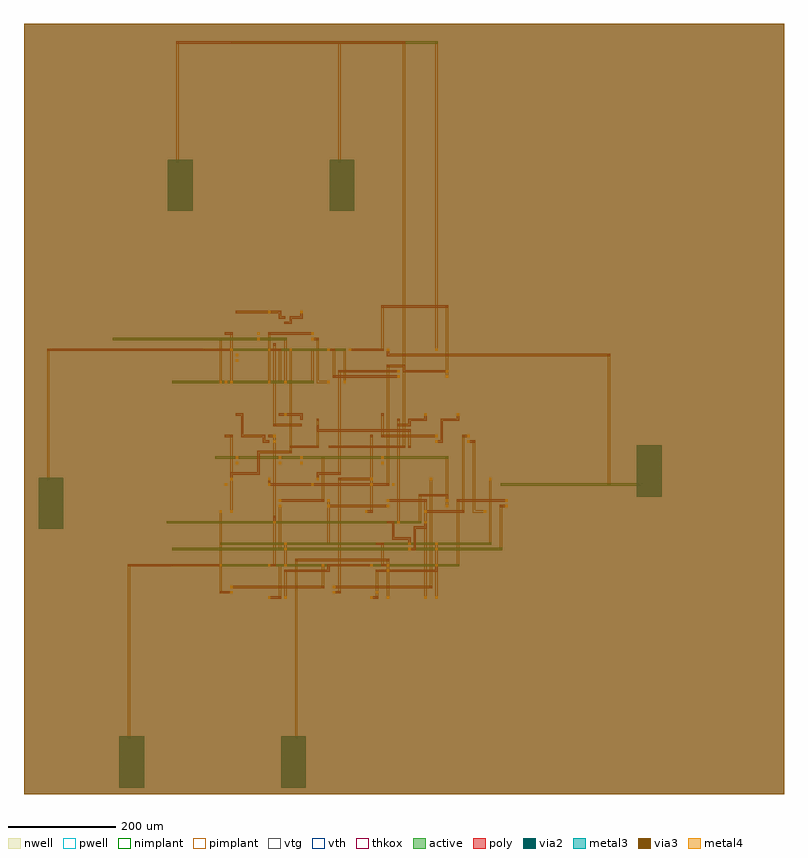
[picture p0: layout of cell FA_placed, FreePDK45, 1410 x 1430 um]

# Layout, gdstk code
from math import pi, radians
import gdstk
lib = gdstk.Library(unit=1e-6, precision=1e-09)
def R(c, l, rs):  # rectangles x0, y0, x1, y1
    for r in rs: c.add(gdstk.rectangle(r[:2], r[2:], *l))
active = (1, 0)
pwell = (2, 0)
nwell = (3, 0)
nimplant = (4, 0)
pimplant = (5, 0)
vtg = (6, 0)
vth = (7, 0)
thkox = (8, 0)
poly = (9, 0)
via2 = (14, 0)
metal3 = (15, 0)
via3 = (16, 0)
metal4 = (17, 0)

via45 = lib.new_cell('VIA45')
R(via45, vth, [(-2.2,-2.2,2.2,2.2)])
R(via45, thkox, [(-2.2,-2.2,2.2,2.2)])
R(via45, poly, [(-2.2,-2.2,2.2,2.2)])

via34 = lib.new_cell('VIA34')
R(via34, pimplant, [(-2.2,-2.2,2.2,2.2)])
R(via34, vtg, [(-2.2,-2.2,2.2,2.2)])
R(via34, vth, [(-2.2,-2.2,2.2,2.2)])

via23 = lib.new_cell('VIA23')
R(via23, nwell, [(-2.2,-2.2,2.2,2.2)])
R(via23, nimplant, [(-2.2,-2.2,2.2,2.2)])
R(via23, pimplant, [(-2.2,-2.2,2.2,2.2)])

pad = lib.new_cell('PAD')
R(pad, via2, [(27,12.5,73,107.5)])
R(pad, metal3, [(27,12.5,73,107.5)])
R(pad, via3, [(0,0,100,120)])

via12 = lib.new_cell('VIA12')
R(via12, active, [(-200.2,-2.2,2.2,2.2)])
R(via12, pwell, [(-2.2,-2.2,2.2,2.2)])
R(via12, nwell, [(-2.2,-2.2,2.2,2.2)])

thmitll_splitt = lib.new_cell('THmitll_SPLITT')
R(thmitll_splitt, via3, [(0,0,30,70)])
R(thmitll_splitt, metal4, [(22.8,12.8,27.2,17.2), (22.8,22.8,27.2,27.2), (2.8,62.8,7.2,67.2)])

thmitll_dfft = lib.new_cell('THmitll_DFFT')
R(thmitll_dfft, via3, [(0,0,30,70)])
R(thmitll_dfft, metal4, [(2.8,2.8,7.2,7.2), (22.8,2.8,27.2,7.2), (22.8,62.8,27.2,67.2)])

thmitll_xort = lib.new_cell('THmitll_XORT')
R(thmitll_xort, via3, [(0,0,50,70)])
R(thmitll_xort, metal4, [(2.8,2.8,7.2,7.2), (32.8,2.8,37.2,7.2), (2.8,62.8,7.2,67.2), (42.8,62.8,47.2,67.2)])

thmitll_or2t = lib.new_cell('THmitll_OR2T')
R(thmitll_or2t, via3, [(0,0,40,70)])
R(thmitll_or2t, metal4, [(2.8,2.8,7.2,7.2), (32.8,2.8,37.2,7.2), (2.8,62.8,7.2,67.2), (32.8,62.8,37.2,67.2)])

thmitll_and2t = lib.new_cell('THmitll_AND2T')
R(thmitll_and2t, via3, [(0,0,50,70)])
R(thmitll_and2t, metal4, [(2.8,2.8,7.2,7.2), (42.8,12.8,47.2,17.2), (42.8,22.8,47.2,27.2), (12.8,62.8,17.2,67.2)])

fa_placed = lib.new_cell('FA_placed')
R(fa_placed, via3, [(0,0,1410,1430)])
fa_placed.add(gdstk.FlexPath([(715,645),(715,675)], 4.4, ends="extended", simple_path=True, layer=5, datatype=0))  # pimplant
fa_placed.add(gdstk.FlexPath([(285,1175),(285,1395)], 4.4, ends="extended", simple_path=True, layer=5, datatype=0))  # pimplant
fa_placed.add(gdstk.FlexPath([(535,765),(535,825)], 4.4, ends="extended", simple_path=True, layer=5, datatype=0))  # pimplant
fa_placed.add(gdstk.FlexPath([(585,375),(585,585)], 4.4, ends="extended", simple_path=True, layer=5, datatype=0))  # pimplant
fa_placed.add(gdstk.FlexPath([(765,1395),(765,825)], 4.4, ends="extended", simple_path=True, layer=5, datatype=0))  # pimplant
fa_placed.add(gdstk.FlexPath([(835,655),(835,525)], 4.4, ends="extended", simple_path=True, layer=5, datatype=0))  # pimplant
fa_placed.add(gdstk.FlexPath([(485,425),(485,465)], 4.4, ends="extended", simple_path=True, layer=5, datatype=0))  # pimplant
fa_placed.add(gdstk.FlexPath([(465,425),(465,505)], 4.4, ends="extended", simple_path=True, layer=5, datatype=0))  # pimplant
fa_placed.add(gdstk.FlexPath([(485,765),(485,845)], 4.4, ends="extended", simple_path=True, layer=5, datatype=0))  # pimplant
fa_placed.add(gdstk.FlexPath([(545,645),(545,695)], 4.4, ends="extended", simple_path=True, layer=5, datatype=0))  # pimplant
fa_placed.add(gdstk.FlexPath([(455,765),(455,855)], 4.4, ends="extended", simple_path=True, layer=5, datatype=0))  # pimplant
fa_placed.add(gdstk.FlexPath([(465,665),(465,515)], 4.4, ends="extended", simple_path=True, layer=5, datatype=0))  # pimplant
fa_placed.add(gdstk.FlexPath([(485,415),(485,365)], 4.4, ends="extended", simple_path=True, layer=5, datatype=0))  # pimplant
fa_placed.add(gdstk.FlexPath([(555,545),(555,625)], 4.4, ends="extended", simple_path=True, layer=5, datatype=0))  # pimplant
fa_placed.add(gdstk.FlexPath([(505,105),(505,435)], 4.4, ends="extended", simple_path=True, layer=5, datatype=0))  # pimplant
fa_placed.add(gdstk.FlexPath([(475,455),(475,535)], 4.4, ends="extended", simple_path=True, layer=5, datatype=0))  # pimplant
fa_placed.add(gdstk.FlexPath([(465,835),(465,685)], 4.4, ends="extended", simple_path=True, layer=5, datatype=0))  # pimplant
fa_placed.add(gdstk.FlexPath([(865,465),(865,585)], 4.4, ends="extended", simple_path=True, layer=5, datatype=0))  # pimplant
fa_placed.add(gdstk.FlexPath([(555,385),(555,425)], 4.4, ends="extended", simple_path=True, layer=5, datatype=0))  # pimplant
fa_placed.add(gdstk.FlexPath([(815,665),(815,525)], 4.4, ends="extended", simple_path=True, layer=5, datatype=0))  # pimplant
fa_placed.add(gdstk.FlexPath([(765,365),(765,465)], 4.4, ends="extended", simple_path=True, layer=5, datatype=0))  # pimplant
fa_placed.add(gdstk.FlexPath([(585,1175),(585,1395)], 4.4, ends="extended", simple_path=True, layer=5, datatype=0))  # pimplant
fa_placed.add(gdstk.FlexPath([(475,365),(475,425)], 4.4, ends="extended", simple_path=True, layer=5, datatype=0))  # pimplant
fa_placed.add(gdstk.FlexPath([(785,905),(785,775)], 4.4, ends="extended", simple_path=True, layer=5, datatype=0))  # pimplant
fa_placed.add(gdstk.FlexPath([(495,825),(495,635)], 4.4, ends="extended", simple_path=True, layer=5, datatype=0))  # pimplant
fa_placed.add(gdstk.FlexPath([(475,825),(475,765)], 4.4, ends="extended", simple_path=True, layer=5, datatype=0))  # pimplant
fa_placed.add(gdstk.FlexPath([(645,525),(645,665)], 4.4, ends="extended", simple_path=True, layer=5, datatype=0))  # pimplant
fa_placed.add(gdstk.FlexPath([(545,765),(565,765)], 4.4, ends="extended", simple_path=True, layer=5, datatype=0))  # pimplant
fa_placed.add(gdstk.FlexPath([(705,1395),(705,645)], 4.4, ends="extended", simple_path=True, layer=5, datatype=0))  # pimplant
fa_placed.add(gdstk.FlexPath([(675,795),(675,575)], 4.4, ends="extended", simple_path=True, layer=5, datatype=0))  # pimplant
fa_placed.add(gdstk.FlexPath([(665,465),(665,425)], 4.4, ends="extended", simple_path=True, layer=5, datatype=0))  # pimplant
fa_placed.add(gdstk.FlexPath([(365,525),(365,375)], 4.4, ends="extended", simple_path=True, layer=5, datatype=0))  # pimplant
fa_placed.add(gdstk.FlexPath([(1085,575),(1085,815)], 4.4, ends="extended", simple_path=True, layer=5, datatype=0))  # pimplant
fa_placed.add(gdstk.FlexPath([(735,505),(735,555)], 4.4, ends="extended", simple_path=True, layer=5, datatype=0))  # pimplant
fa_placed.add(gdstk.FlexPath([(565,545),(565,465)], 4.4, ends="extended", simple_path=True, layer=5, datatype=0))  # pimplant
fa_placed.add(gdstk.FlexPath([(595,825),(595,765)], 4.4, ends="extended", simple_path=True, layer=5, datatype=0))  # pimplant
fa_placed.add(gdstk.FlexPath([(575,825),(575,775)], 4.4, ends="extended", simple_path=True, layer=5, datatype=0))  # pimplant
fa_placed.add(gdstk.FlexPath([(385,665),(385,525)], 4.4, ends="extended", simple_path=True, layer=5, datatype=0))  # pimplant
fa_placed.add(gdstk.FlexPath([(45,585),(45,825)], 4.4, ends="extended", simple_path=True, layer=5, datatype=0))  # pimplant
fa_placed.add(gdstk.FlexPath([(195,105),(195,425)], 4.4, ends="extended", simple_path=True, layer=5, datatype=0))  # pimplant
fa_placed.add(gdstk.FlexPath([(885,535),(885,455)], 4.4, ends="extended", simple_path=True, layer=5, datatype=0))  # pimplant
fa_placed.add(gdstk.FlexPath([(655,365),(655,415)], 4.4, ends="extended", simple_path=True, layer=5, datatype=0))  # pimplant
fa_placed.add(gdstk.FlexPath([(785,625),(785,535)], 4.4, ends="extended", simple_path=True, layer=5, datatype=0))  # pimplant
fa_placed.add(gdstk.FlexPath([(365,845),(365,765)], 4.4, ends="extended", simple_path=True, layer=5, datatype=0))  # pimplant
fa_placed.add(gdstk.FlexPath([(545,845),(545,765)], 4.4, ends="extended", simple_path=True, layer=5, datatype=0))  # pimplant
fa_placed.add(gdstk.FlexPath([(695,505),(695,695)], 4.4, ends="extended", simple_path=True, layer=5, datatype=0))  # pimplant
fa_placed.add(gdstk.FlexPath([(745,545),(745,365)], 4.4, ends="extended", simple_path=True, layer=5, datatype=0))  # pimplant
fa_placed.add(gdstk.FlexPath([(755,385),(755,585)], 4.4, ends="extended", simple_path=True, layer=5, datatype=0))  # pimplant
fa_placed.add(gdstk.FlexPath([(665,705),(665,665)], 4.4, ends="extended", simple_path=True, layer=5, datatype=0))  # pimplant
fa_placed.add(gdstk.FlexPath([(835,525),(855,525)], 4.4, ends="extended", simple_path=True, layer=5, datatype=0))  # pimplant
fa_placed.add(gdstk.FlexPath([(385,855),(385,765)], 4.4, ends="extended", simple_path=True, layer=5, datatype=0))  # pimplant
fa_placed.add(gdstk.FlexPath([(675,435),(675,365)], 4.4, ends="extended", simple_path=True, layer=5, datatype=0))  # pimplant
fa_placed.add(gdstk.FlexPath([(665,825),(665,905)], 4.4, ends="extended", simple_path=True, layer=5, datatype=0))  # pimplant
fa_placed.add(gdstk.FlexPath([(585,785),(585,595)], 4.4, ends="extended", simple_path=True, layer=5, datatype=0))  # pimplant
fa_placed.add(gdstk.FlexPath([(805,425),(805,545)], 4.4, ends="extended", simple_path=True, layer=5, datatype=0))  # pimplant
fa_placed.add(gdstk.FlexPath([(555,625),(785,625)], 4.4, ends="extended", simple_path=True, layer=1, datatype=0))  # active
fa_placed.add(gdstk.FlexPath([(475,765),(535,765)], 4.4, ends="extended", simple_path=True, layer=1, datatype=0))  # active
fa_placed.add(gdstk.FlexPath([(1145,575),(1085,575)], 4.4, ends="extended", simple_path=True, layer=1, datatype=0))  # active
fa_placed.add(gdstk.FlexPath([(485,845),(365,845)], 4.4, ends="extended", simple_path=True, layer=1, datatype=0))  # active
fa_placed.add(gdstk.FlexPath([(885,455),(475,455)], 4.4, ends="extended", simple_path=True, layer=1, datatype=0))  # active
fa_placed.add(gdstk.FlexPath([(585,1395),(765,1395)], 4.4, ends="extended", simple_path=True, layer=1, datatype=0))  # active
fa_placed.add(gdstk.FlexPath([(565,465),(865,465)], 4.4, ends="extended", simple_path=True, layer=1, datatype=0))  # active
fa_placed.add(gdstk.FlexPath([(475,425),(805,425)], 4.4, ends="extended", simple_path=True, layer=1, datatype=0))  # active
fa_placed.add(gdstk.FlexPath([(465,505),(735,505)], 4.4, ends="extended", simple_path=True, layer=1, datatype=0))  # active
fa_placed.add(gdstk.FlexPath([(535,825),(595,825)], 4.4, ends="extended", simple_path=True, layer=1, datatype=0))  # active
fa_placed.add(gdstk.FlexPath([(675,815),(675,825)], 4.4, ends=(2.2, 0), simple_path=True, layer=9, datatype=0))  # poly
fa_placed.add(gdstk.FlexPath([(515,885),(515,895)], 4.4, ends=(2.2, 0), simple_path=True, layer=9, datatype=0))  # poly
fa_placed.add(gdstk.FlexPath([(645,365),(655,365)], 4.4, ends="extended", simple_path=True, layer=9, datatype=0))  # poly
fa_placed.add(gdstk.FlexPath([(675,545),(745,545)], 4.4, ends="extended", simple_path=True, layer=9, datatype=0))  # poly
fa_placed.add(gdstk.FlexPath([(685,475),(715,475)], 4.4, ends="extended", simple_path=True, layer=9, datatype=0))  # poly
fa_placed.add(gdstk.FlexPath([(455,575),(455,585)], 4.4, ends=(2.2, 0), simple_path=True, layer=9, datatype=0))  # poly
fa_placed.add(gdstk.FlexPath([(375,855),(385,855)], 4.4, ends="extended", simple_path=True, layer=9, datatype=0))  # poly
fa_placed.add(gdstk.FlexPath([(575,385),(755,385)], 4.4, ends="extended", simple_path=True, layer=9, datatype=0))  # poly
fa_placed.add(gdstk.FlexPath([(715,695),(745,695)], 4.4, ends="extended", simple_path=True, layer=9, datatype=0))  # poly
fa_placed.add(gdstk.FlexPath([(785,785),(705,785)], 4.4, ends="extended", simple_path=True, layer=9, datatype=0))  # poly
fa_placed.add(gdstk.FlexPath([(765,655),(775,655)], 4.4, ends="extended", simple_path=True, layer=9, datatype=0))  # poly
fa_placed.add(gdstk.FlexPath([(605,825),(665,825)], 4.4, ends="extended", simple_path=True, layer=9, datatype=0))  # poly
fa_placed.add(gdstk.FlexPath([(495,635),(435,635)], 4.4, ends="extended", simple_path=True, layer=9, datatype=0))  # poly
fa_placed.add(gdstk.FlexPath([(705,645),(565,645)], 4.4, ends=(2.2, 0), simple_path=True, layer=9, datatype=0))  # poly
fa_placed.add(gdstk.FlexPath([(365,375),(385,375)], 4.4, ends=(2.2, 0), simple_path=True, layer=9, datatype=0))  # poly
fa_placed.add(gdstk.FlexPath([(725,455),(725,495)], 4.4, ends="extended", simple_path=True, layer=9, datatype=0))  # poly
fa_placed.add(gdstk.FlexPath([(495,885),(515,885)], 4.4, ends="extended", simple_path=True, layer=9, datatype=0))  # poly
fa_placed.add(gdstk.FlexPath([(785,555),(785,545)], 4.4, ends=(2.2, 0), simple_path=True, layer=9, datatype=0))  # poly
fa_placed.add(gdstk.FlexPath([(825,655),(835,655)], 4.4, ends="extended", simple_path=True, layer=9, datatype=0))  # poly
fa_placed.add(gdstk.FlexPath([(675,575),(455,575)], 4.4, ends="extended", simple_path=True, layer=9, datatype=0))  # poly
fa_placed.add(gdstk.FlexPath([(405,705),(405,665)], 4.4, ends="extended", simple_path=True, layer=9, datatype=0))  # poly
fa_placed.add(gdstk.FlexPath([(805,695),(805,705)], 4.4, ends=(2.2, 0), simple_path=True, layer=9, datatype=0))  # poly
fa_placed.add(gdstk.FlexPath([(715,685),(715,695)], 4.4, ends="extended", simple_path=True, layer=9, datatype=0))  # poly
fa_placed.add(gdstk.FlexPath([(765,415),(765,425)], 4.4, ends=(2.2, 0), simple_path=True, layer=9, datatype=0))  # poly
fa_placed.add(gdstk.FlexPath([(545,675),(545,685)], 4.4, ends=(2.2, 0), simple_path=True, layer=9, datatype=0))  # poly
fa_placed.add(gdstk.FlexPath([(195,425),(365,425)], 4.4, ends=(2.2, 0), simple_path=True, layer=9, datatype=0))  # poly
fa_placed.add(gdstk.FlexPath([(395,895),(475,895)], 4.4, ends="extended", simple_path=True, layer=9, datatype=0))  # poly
fa_placed.add(gdstk.FlexPath([(735,555),(785,555)], 4.4, ends="extended", simple_path=True, layer=9, datatype=0))  # poly
fa_placed.add(gdstk.FlexPath([(475,545),(555,545)], 4.4, ends="extended", simple_path=True, layer=9, datatype=0))  # poly
fa_placed.add(gdstk.FlexPath([(385,385),(555,385)], 4.4, ends="extended", simple_path=True, layer=9, datatype=0))  # poly
fa_placed.add(gdstk.FlexPath([(435,595),(385,595)], 4.4, ends="extended", simple_path=True, layer=9, datatype=0))  # poly
fa_placed.add(gdstk.FlexPath([(395,705),(405,705)], 4.4, ends="extended", simple_path=True, layer=9, datatype=0))  # poly
fa_placed.add(gdstk.FlexPath([(655,465),(665,465)], 4.4, ends="extended", simple_path=True, layer=9, datatype=0))  # poly
fa_placed.add(gdstk.FlexPath([(715,455),(725,455)], 4.4, ends="extended", simple_path=True, layer=9, datatype=0))  # poly
fa_placed.add(gdstk.FlexPath([(775,695),(805,695)], 4.4, ends="extended", simple_path=True, layer=9, datatype=0))  # poly
fa_placed.add(gdstk.FlexPath([(655,415),(765,415)], 4.4, ends="extended", simple_path=True, layer=9, datatype=0))  # poly
fa_placed.add(gdstk.FlexPath([(805,545),(895,545)], 4.4, ends=(2.2, 0), simple_path=True, layer=9, datatype=0))  # poly
fa_placed.add(gdstk.FlexPath([(665,905),(785,905)], 4.4, ends="extended", simple_path=True, layer=9, datatype=0))  # poly
fa_placed.add(gdstk.FlexPath([(825,665),(815,665)], 4.4, ends="extended", simple_path=True, layer=9, datatype=0))  # poly
fa_placed.add(gdstk.FlexPath([(455,825),(475,825)], 4.4, ends="extended", simple_path=True, layer=9, datatype=0))  # poly
fa_placed.add(gdstk.FlexPath([(475,705),(515,705)], 4.4, ends="extended", simple_path=True, layer=9, datatype=0))  # poly
fa_placed.add(gdstk.FlexPath([(715,675),(545,675)], 4.4, ends="extended", simple_path=True, layer=9, datatype=0))  # poly
fa_placed.add(gdstk.FlexPath([(445,655),(455,655)], 4.4, ends=(2.2, 0), simple_path=True, layer=9, datatype=0))  # poly
fa_placed.add(gdstk.FlexPath([(565,425),(565,415)], 4.4, ends="extended", simple_path=True, layer=9, datatype=0))  # poly
fa_placed.add(gdstk.FlexPath([(565,825),(575,825)], 4.4, ends="extended", simple_path=True, layer=9, datatype=0))  # poly
fa_placed.add(gdstk.FlexPath([(435,635),(435,595)], 4.4, ends="extended", simple_path=True, layer=9, datatype=0))  # poly
fa_placed.add(gdstk.FlexPath([(445,665),(445,655)], 4.4, ends="extended", simple_path=True, layer=9, datatype=0))  # poly
fa_placed.add(gdstk.FlexPath([(745,495),(745,505)], 4.4, ends=(2.2, 0), simple_path=True, layer=9, datatype=0))  # poly
fa_placed.add(gdstk.FlexPath([(535,845),(545,845)], 4.4, ends="extended", simple_path=True, layer=9, datatype=0))  # poly
fa_placed.add(gdstk.FlexPath([(815,525),(745,525)], 4.4, ends=(2.2, 0), simple_path=True, layer=9, datatype=0))  # poly
fa_placed.add(gdstk.FlexPath([(895,535),(885,535)], 4.4, ends="extended", simple_path=True, layer=9, datatype=0))  # poly
fa_placed.add(gdstk.FlexPath([(465,685),(515,685)], 4.4, ends=(2.2, 0), simple_path=True, layer=9, datatype=0))  # poly
fa_placed.add(gdstk.FlexPath([(745,695),(745,705)], 4.4, ends=(2.2, 0), simple_path=True, layer=9, datatype=0))  # poly
fa_placed.add(gdstk.FlexPath([(475,885),(485,885)], 4.4, ends=(2.2, 0), simple_path=True, layer=9, datatype=0))  # poly
fa_placed.add(gdstk.FlexPath([(645,425),(565,425)], 4.4, ends="extended", simple_path=True, layer=9, datatype=0))  # poly
fa_placed.add(gdstk.FlexPath([(565,535),(675,535)], 4.4, ends=(2.2, 0), simple_path=True, layer=9, datatype=0))  # poly
fa_placed.add(gdstk.FlexPath([(405,665),(445,665)], 4.4, ends="extended", simple_path=True, layer=9, datatype=0))  # poly
fa_placed.add(gdstk.FlexPath([(505,435),(675,435)], 4.4, ends="extended", simple_path=True, layer=9, datatype=0))  # poly
fa_placed.add(gdstk.FlexPath([(725,495),(745,495)], 4.4, ends="extended", simple_path=True, layer=9, datatype=0))  # poly
fa_placed.add(gdstk.FlexPath([(695,785),(585,785)], 4.4, ends="extended", simple_path=True, layer=9, datatype=0))  # poly
fa_placed.add(gdstk.FlexPath([(665,425),(675,425)], 4.4, ends=(2.2, 0), simple_path=True, layer=9, datatype=0))  # poly
fa_placed.add(gdstk.FlexPath([(575,375),(585,375)], 4.4, ends="extended", simple_path=True, layer=9, datatype=0))  # poly
fa_placed.add(gdstk.FlexPath([(1085,815),(675,815)], 4.4, ends="extended", simple_path=True, layer=9, datatype=0))  # poly
fa_placed.add(gdstk.FlexPath([(475,895),(475,885)], 4.4, ends="extended", simple_path=True, layer=9, datatype=0))  # poly
fa_placed.add(gdstk.FlexPath([(545,595),(545,585)], 4.4, ends=(2.2, 0), simple_path=True, layer=9, datatype=0))  # poly
fa_placed.add(gdstk.FlexPath([(455,425),(465,425)], 4.4, ends="extended", simple_path=True, layer=9, datatype=0))  # poly
fa_placed.add(gdstk.FlexPath([(575,775),(695,775)], 4.4, ends=(2.2, 0), simple_path=True, layer=9, datatype=0))  # poly
fa_placed.add(gdstk.FlexPath([(385,595),(385,585)], 4.4, ends=(2.2, 0), simple_path=True, layer=9, datatype=0))  # poly
fa_placed.add(gdstk.FlexPath([(455,665),(465,665)], 4.4, ends="extended", simple_path=True, layer=9, datatype=0))  # poly
fa_placed.add(gdstk.FlexPath([(495,645),(545,645)], 4.4, ends="extended", simple_path=True, layer=9, datatype=0))  # poly
fa_placed.add(gdstk.FlexPath([(45,825),(385,825)], 4.4, ends=(2.2, 0), simple_path=True, layer=9, datatype=0))  # poly
fa_placed.add(gdstk.FlexPath([(685,505),(685,475)], 4.4, ends="extended", simple_path=True, layer=9, datatype=0))  # poly
fa_placed.add(gdstk.FlexPath([(495,875),(495,885)], 4.4, ends="extended", simple_path=True, layer=9, datatype=0))  # poly
fa_placed.add(gdstk.FlexPath([(565,415),(485,415)], 4.4, ends="extended", simple_path=True, layer=9, datatype=0))  # poly
fa_placed.add(gdstk.FlexPath([(455,365),(475,365)], 4.4, ends="extended", simple_path=True, layer=9, datatype=0))  # poly
fa_placed.add(gdstk.FlexPath([(665,665),(765,665)], 4.4, ends=(2.2, 0), simple_path=True, layer=9, datatype=0))  # poly
fa_placed.add(gdstk.FlexPath([(285,1395),(705,1395)], 4.4, ends="extended", simple_path=True, layer=9, datatype=0))  # poly
fa_placed.add(gdstk.FlexPath([(675,505),(685,505)], 4.4, ends="extended", simple_path=True, layer=9, datatype=0))  # poly
fa_placed.add(gdstk.FlexPath([(695,685),(715,685)], 4.4, ends="extended", simple_path=True, layer=9, datatype=0))  # poly
fa_placed.add(gdstk.FlexPath([(585,595),(545,595)], 4.4, ends="extended", simple_path=True, layer=9, datatype=0))  # poly
fa_placed.add(gdstk.FlexPath([(515,705),(515,695)], 4.4, ends=(2.2, 0), simple_path=True, layer=9, datatype=0))  # poly
fa_placed.add(gdstk.FlexPath([(715,475),(715,465)], 4.4, ends=(2.2, 0), simple_path=True, layer=9, datatype=0))  # poly
fa_placed.add(gdstk.FlexPath([(485,875),(495,875)], 4.4, ends="extended", simple_path=True, layer=9, datatype=0))  # poly
fa_placed.add(gdstk.FlexPath([(705,795),(675,795)], 4.4, ends="extended", simple_path=True, layer=9, datatype=0))  # poly
fa_placed.add(gdstk.FlexPath([(635,525),(645,525)], 4.4, ends="extended", simple_path=True, layer=9, datatype=0))  # poly
fa_placed.add(gdstk.FlexPath([(585,585),(645,585)], 4.4, ends=(2.2, 0), simple_path=True, layer=9, datatype=0))  # poly
fa_placed.add(gdstk.FlexPath([(775,655),(775,695)], 4.4, ends="extended", simple_path=True, layer=9, datatype=0))  # poly
fa_placed.add(gdstk.FlexPath([(455,855),(535,855)], 4.4, ends=(2.2, 0), simple_path=True, layer=9, datatype=0))  # poly
fa_placed.add(gdstk.FlexPath([(705,785),(705,795)], 4.4, ends="extended", simple_path=True, layer=9, datatype=0))  # poly
fa_placed.add(gdstk.FlexPath([(465,515),(465,505)], 4.4, ends=(2.2, 0), simple_path=True, layer=9, datatype=0))  # poly
fa_placed.add(gdstk.FlexPath([(375,665),(385,665)], 4.4, ends="extended", simple_path=True, layer=9, datatype=0))  # poly
fa_placed.add(gdstk.Reference(via45, (385,765)))
fa_placed.add(gdstk.Reference(via34, (665,665)))
fa_placed.add(gdstk.Reference(via34, (495,825)))
fa_placed.add(gdstk.Reference(via45, (785,905)))
fa_placed.add(gdstk.Reference(via45, (45,825)))
fa_placed.add(gdstk.Reference(via23, (465,505)))
fa_placed.add(gdstk.Reference(pad, (1110,540)))
fa_placed.add(gdstk.Reference(via12, (1085,575)))
fa_placed.add(gdstk.Reference(via45, (465,685)))
fa_placed.add(gdstk.Reference(via34, (705,645)))
fa_placed.add(gdstk.Reference(via34, (885,535)))
fa_placed.add(gdstk.Reference(via45, (715,645)))
fa_placed.add(gdstk.Reference(via45, (745,365)))
fa_placed.add(gdstk.Reference(via34, (585,595)))
fa_placed.add(gdstk.Reference(thmitll_splitt, (540,520)))
fa_placed.add(gdstk.Reference(via45, (45,585)))
fa_placed.add(gdstk.Reference(via34, (665,425)))
fa_placed.add(gdstk.Reference(via34, (665,705)))
fa_placed.add(gdstk.Reference(via12, (595,825)))
fa_placed.add(gdstk.Reference(via45, (665,905)))
fa_placed.add(gdstk.Reference(via34, (755,585)))
fa_placed.add(gdstk.Reference(via34, (465,425)))
fa_placed.add(gdstk.Reference(thmitll_dfft, (360,760)))
fa_placed.add(gdstk.Reference(via45, (765,825)))
fa_placed.add(gdstk.Reference(via34, (465,515)))
fa_placed.add(gdstk.Reference(via34, (705,1395)))
fa_placed.add(gdstk.Reference(via45, (555,385)))
fa_placed.add(gdstk.Reference(via45, (365,375)))
fa_placed.add(gdstk.Reference(via23, (555,625)))
fa_placed.add(gdstk.Reference(via34, (585,785)))
fa_placed.add(gdstk.Reference(thmitll_splitt, (490,640), rotation=pi, x_reflection=True))
fa_placed.add(gdstk.Reference(via45, (675,365)))
fa_placed.add(gdstk.Reference(via34, (665,465)))
fa_placed.add(gdstk.Reference(via45, (695,505)))
fa_placed.add(gdstk.Reference(via12, (535,825)))
fa_placed.add(gdstk.Reference(via34, (785,775)))
fa_placed.add(gdstk.Reference(via34, (755,385)))
fa_placed.add(gdstk.Reference(via45, (655,365)))
fa_placed.add(gdstk.Reference(thmitll_xort, (450,760)))
fa_placed.add(gdstk.Reference(via34, (1085,815)))
fa_placed.add(gdstk.Reference(via34, (465,665)))
fa_placed.add(gdstk.Reference(via45, (285,1175)))
fa_placed.add(gdstk.Reference(via45, (365,765)))
fa_placed.add(gdstk.Reference(via34, (715,675)))
fa_placed.add(gdstk.Reference(via34, (555,545)))
fa_placed.add(gdstk.Reference(via12, (535,765)))
fa_placed.add(gdstk.Reference(thmitll_splitt, (450,640), x_reflection=True))
fa_placed.add(gdstk.Reference(via34, (45,825)))
fa_placed.add(gdstk.Reference(via45, (385,855)))
fa_placed.add(gdstk.Reference(via45, (455,855)))
fa_placed.add(gdstk.Reference(via34, (595,765)))
fa_placed.add(gdstk.Reference(via34, (785,905)))
fa_placed.add(gdstk.Reference(via45, (745,545)))
fa_placed.add(gdstk.Reference(via45, (485,365)))
fa_placed.add(gdstk.Reference(thmitll_dfft, (360,520)))
fa_placed.add(gdstk.Reference(via23, (1085,575)))
fa_placed.add(gdstk.Reference(via45, (465,835)))
fa_placed.add(gdstk.Reference(via45, (815,525)))
fa_placed.add(gdstk.Reference(via34, (555,425)))
fa_placed.add(gdstk.Reference(via34, (715,645)))
fa_placed.add(gdstk.Reference(via12, (805,425)))
fa_placed.add(gdstk.Reference(via12, (475,765)))
fa_placed.add(gdstk.Reference(thmitll_splitt, (460,440)))
fa_placed.add(gdstk.Reference(via34, (45,585)))
fa_placed.add(gdstk.Reference(via45, (765,465)))
fa_placed.add(gdstk.Reference(via34, (695,695)))
fa_placed.add(gdstk.Reference(via23, (595,825)))
fa_placed.add(gdstk.Reference(via45, (365,525)))
fa_placed.add(gdstk.Reference(via45, (865,585)))
fa_placed.add(gdstk.Reference(via34, (655,415)))
fa_placed.add(gdstk.Reference(thmitll_dfft, (740,360)))
fa_placed.add(gdstk.Reference(via12, (765,1395)))
fa_placed.add(gdstk.Reference(via45, (645,665)))
fa_placed.add(gdstk.Reference(via34, (285,1395)))
fa_placed.add(gdstk.Reference(via34, (555,385)))
fa_placed.add(gdstk.Reference(via45, (765,365)))
fa_placed.add(gdstk.Reference(via12, (475,425)))
fa_placed.add(gdstk.Reference(via23, (535,825)))
fa_placed.add(gdstk.Reference(thmitll_splitt, (640,640), x_reflection=True))
fa_placed.add(gdstk.Reference(via45, (675,435)))
fa_placed.add(gdstk.Reference(via34, (385,765)))
fa_placed.add(gdstk.Reference(via34, (695,505)))
fa_placed.add(gdstk.Reference(via12, (365,845)))
fa_placed.add(gdstk.Reference(via45, (585,585)))
fa_placed.add(gdstk.Reference(via34, (745,365)))
fa_placed.add(gdstk.Reference(via34, (655,365)))
fa_placed.add(gdstk.Reference(thmitll_or2t, (450,360)))
fa_placed.add(gdstk.Reference(via12, (585,1395)))
fa_placed.add(gdstk.Reference(via34, (465,685)))
fa_placed.add(gdstk.Reference(via34, (285,1175)))
fa_placed.add(gdstk.Reference(via45, (665,825)))
fa_placed.add(gdstk.Reference(via45, (385,525)))
fa_placed.add(gdstk.Reference(via34, (805,545)))
fa_placed.add(gdstk.Reference(via23, (535,765)))
fa_placed.add(gdstk.Reference(thmitll_splitt, (690,640), rotation=pi))
fa_placed.add(gdstk.Reference(via45, (505,435)))
fa_placed.add(gdstk.Reference(via34, (385,855)))
fa_placed.add(gdstk.Reference(via45, (815,665)))
fa_placed.add(gdstk.Reference(via12, (485,845)))
fa_placed.add(gdstk.Reference(via34, (365,375)))
fa_placed.add(gdstk.Reference(via34, (745,545)))
fa_placed.add(gdstk.Reference(via45, (485,415)))
fa_placed.add(gdstk.Reference(thmitll_and2t, (740,520)))
fa_placed.add(gdstk.Reference(via34, (765,825)))
fa_placed.add(gdstk.Reference(via34, (465,835)))
fa_placed.add(gdstk.Reference(via45, (475,535)))
fa_placed.add(gdstk.Reference(via34, (765,465)))
fa_placed.add(gdstk.Reference(via23, (805,425)))
fa_placed.add(gdstk.Reference(via45, (475,825)))
fa_placed.add(gdstk.Reference(thmitll_splitt, (690,440)))
fa_placed.add(gdstk.Reference(via34, (675,365)))
fa_placed.add(gdstk.Reference(via45, (645,525)))
fa_placed.add(gdstk.Reference(via45, (855,525)))
fa_placed.add(gdstk.Reference(via34, (365,765)))
fa_placed.add(gdstk.Reference(via34, (365,525)))
fa_placed.add(gdstk.Reference(via12, (865,465)))
fa_placed.add(gdstk.Reference(via45, (735,555)))
fa_placed.add(gdstk.Reference(thmitll_xort, (560,760)))
fa_placed.add(gdstk.Reference(via23, (765,1395)))
fa_placed.add(gdstk.Reference(via45, (455,765)))
fa_placed.add(gdstk.Reference(via34, (665,905)))
fa_placed.add(gdstk.Reference(via34, (765,365)))
fa_placed.add(gdstk.Reference(via45, (475,365)))
fa_placed.add(gdstk.Reference(via45, (675,575)))
fa_placed.add(gdstk.Reference(thmitll_splitt, (460,830), rotation=pi, x_reflection=True))
fa_placed.add(gdstk.Reference(via34, (675,435)))
fa_placed.add(gdstk.Reference(via45, (585,1175)))
fa_placed.add(gdstk.Reference(via45, (485,465)))
fa_placed.add(gdstk.Reference(via34, (815,525)))
fa_placed.add(gdstk.Reference(via23, (365,845)))
fa_placed.add(gdstk.Reference(via45, (585,375)))
fa_placed.add(gdstk.Reference(via12, (565,465)))
fa_placed.add(gdstk.Reference(via34, (485,365)))
fa_placed.add(gdstk.Reference(thmitll_or2t, (640,360)))
fa_placed.add(gdstk.Reference(via45, (505,105)))
fa_placed.add(gdstk.Reference(via45, (565,765)))
fa_placed.add(gdstk.Reference(via34, (665,825)))
fa_placed.add(gdstk.Reference(via45, (385,665)))
fa_placed.add(gdstk.Reference(via45, (785,535)))
fa_placed.add(gdstk.Reference(via23, (475,765)))
fa_placed.add(gdstk.Reference(thmitll_splitt, (510,830)))
fa_placed.add(gdstk.Reference(pad, (0,480)))
fa_placed.add(gdstk.Reference(thmitll_splitt, (540,640), rotation=pi))
fa_placed.add(gdstk.Reference(via34, (645,665)))
fa_placed.add(gdstk.Reference(via34, (815,665)))
fa_placed.add(gdstk.Reference(via45, (485,765)))
fa_placed.add(gdstk.Reference(via45, (575,775)))
fa_placed.add(gdstk.Reference(via34, (865,585)))
fa_placed.add(gdstk.Reference(via34, (485,415)))
fa_placed.add(gdstk.Reference(thmitll_splitt, (360,360)))
fa_placed.add(gdstk.Reference(via45, (195,425)))
fa_placed.add(gdstk.Reference(via34, (455,855)))
fa_placed.add(gdstk.Reference(via12, (475,455)))
fa_placed.add(gdstk.Reference(via45, (545,695)))
fa_placed.add(gdstk.Reference(via23, (475,425)))
fa_placed.add(gdstk.Reference(via34, (475,825)))
fa_placed.add(gdstk.Reference(via12, (735,505)))
fa_placed.add(gdstk.Reference(pad, (450,0)))
fa_placed.add(gdstk.Reference(via23, (585,1395)))
fa_placed.add(gdstk.Reference(via34, (645,525)))
fa_placed.add(gdstk.Reference(via45, (835,655)))
fa_placed.add(gdstk.Reference(via45, (495,635)))
fa_placed.add(gdstk.Reference(via34, (585,585)))
fa_placed.add(gdstk.Reference(via23, (865,465)))
fa_placed.add(gdstk.Reference(via45, (675,795)))
fa_placed.add(gdstk.Reference(thmitll_splitt, (550,360)))
fa_placed.add(gdstk.Reference(via34, (505,435)))
fa_placed.add(gdstk.Reference(via34, (455,765)))
fa_placed.add(gdstk.Reference(via12, (885,455)))
fa_placed.add(gdstk.Reference(via34, (385,525)))
fa_placed.add(gdstk.Reference(via34, (475,365)))
fa_placed.add(gdstk.Reference(via45, (565,545)))
fa_placed.add(gdstk.Reference(via12, (465,505)))
fa_placed.add(gdstk.Reference(thmitll_and2t, (850,520)))
fa_placed.add(gdstk.Reference(via34, (585,1175)))
fa_placed.add(gdstk.Reference(via45, (485,425)))
fa_placed.add(gdstk.Reference(via45, (665,665)))
fa_placed.add(gdstk.Reference(via23, (485,845)))
fa_placed.add(gdstk.Reference(via34, (585,375)))
fa_placed.add(gdstk.Reference(via12, (785,625)))
fa_placed.add(gdstk.Reference(via45, (585,595)))
fa_placed.add(gdstk.Reference(thmitll_splitt, (740,640)))
fa_placed.add(gdstk.Reference(via34, (505,105)))
fa_placed.add(gdstk.Reference(via45, (545,845)))
fa_placed.add(gdstk.Reference(via45, (705,645)))
fa_placed.add(gdstk.Reference(via34, (475,535)))
fa_placed.add(gdstk.Reference(via34, (385,665)))
fa_placed.add(gdstk.Reference(via45, (575,825)))
fa_placed.add(gdstk.Reference(via45, (755,585)))
fa_placed.add(gdstk.Reference(via34, (735,555)))
fa_placed.add(gdstk.Reference(thmitll_and2t, (630,520)))
fa_placed.add(gdstk.Reference(thmitll_splitt, (370,830), x_reflection=True))
fa_placed.add(gdstk.Reference(via45, (665,425)))
fa_placed.add(gdstk.Reference(via34, (855,525)))
fa_placed.add(gdstk.Reference(via34, (485,765)))
fa_placed.add(gdstk.Reference(via45, (545,645)))
fa_placed.add(gdstk.Reference(via12, (555,625)))
fa_placed.add(gdstk.Reference(via34, (675,575)))
fa_placed.add(gdstk.Reference(thmitll_splitt, (800,640)))
fa_placed.add(gdstk.Reference(via45, (195,105)))
fa_placed.add(gdstk.Reference(via45, (465,515)))
fa_placed.add(gdstk.Reference(via23, (475,455)))
fa_placed.add(gdstk.Reference(via45, (495,825)))
fa_placed.add(gdstk.Reference(via45, (785,775)))
fa_placed.add(gdstk.Reference(via23, (565,465)))
fa_placed.add(gdstk.Reference(via23, (735,505)))
fa_placed.add(gdstk.Reference(pad, (540,1070)))
fa_placed.add(gdstk.Reference(thmitll_splitt, (650,440), x_reflection=True))
fa_placed.add(gdstk.Reference(via34, (485,465)))
fa_placed.add(gdstk.Reference(via34, (835,655)))
fa_placed.add(gdstk.Reference(via45, (885,535)))
fa_placed.add(gdstk.Reference(via45, (715,675)))
fa_placed.add(gdstk.Reference(via34, (785,535)))
fa_placed.add(gdstk.Reference(via34, (675,795)))
fa_placed.add(gdstk.Reference(thmitll_splitt, (760,760)))
fa_placed.add(gdstk.Reference(via45, (1085,815)))
fa_placed.add(gdstk.Reference(via34, (565,765)))
fa_placed.add(gdstk.Reference(via45, (665,705)))
fa_placed.add(gdstk.Reference(via45, (595,765)))
fa_placed.add(gdstk.Reference(via34, (575,775)))
fa_placed.add(gdstk.Reference(via34, (565,545)))
fa_placed.add(gdstk.Reference(via45, (465,425)))
fa_placed.add(gdstk.Reference(pad, (240,1070)))
fa_placed.add(gdstk.Reference(thmitll_splitt, (370,640), x_reflection=True))
fa_placed.add(gdstk.Reference(via34, (485,425)))
fa_placed.add(gdstk.Reference(via45, (705,1395)))
fa_placed.add(gdstk.Reference(via45, (555,425)))
fa_placed.add(gdstk.Reference(via34, (545,695)))
fa_placed.add(gdstk.Reference(via23, (785,625)))
fa_placed.add(gdstk.Reference(via45, (585,785)))
fa_placed.add(gdstk.Reference(thmitll_splitt, (450,520)))
fa_placed.add(gdstk.Reference(via34, (195,425)))
fa_placed.add(gdstk.Reference(via34, (545,845)))
fa_placed.add(gdstk.Reference(via45, (665,465)))
fa_placed.add(gdstk.Reference(via45, (695,695)))
fa_placed.add(gdstk.Reference(via34, (495,635)))
fa_placed.add(gdstk.Reference(via34, (575,825)))
fa_placed.add(gdstk.Reference(via45, (755,385)))
fa_placed.add(gdstk.Reference(via45, (805,545)))
fa_placed.add(gdstk.Reference(pad, (150,0)))
fa_placed.add(gdstk.Reference(thmitll_splitt, (740,440)))
fa_placed.add(gdstk.Reference(via45, (465,665)))
fa_placed.add(gdstk.Reference(via45, (285,1395)))
fa_placed.add(gdstk.Reference(via23, (885,455)))
fa_placed.add(gdstk.Reference(via34, (545,645)))
fa_placed.add(gdstk.Reference(via45, (555,545)))
fa_placed.add(gdstk.Reference(via45, (655,415)))
fa_placed.add(gdstk.Reference(thmitll_splitt, (670,760)))
fa_placed.add(gdstk.Reference(via34, (195,105)))

lib.write_gds('FA_placed.gds')
